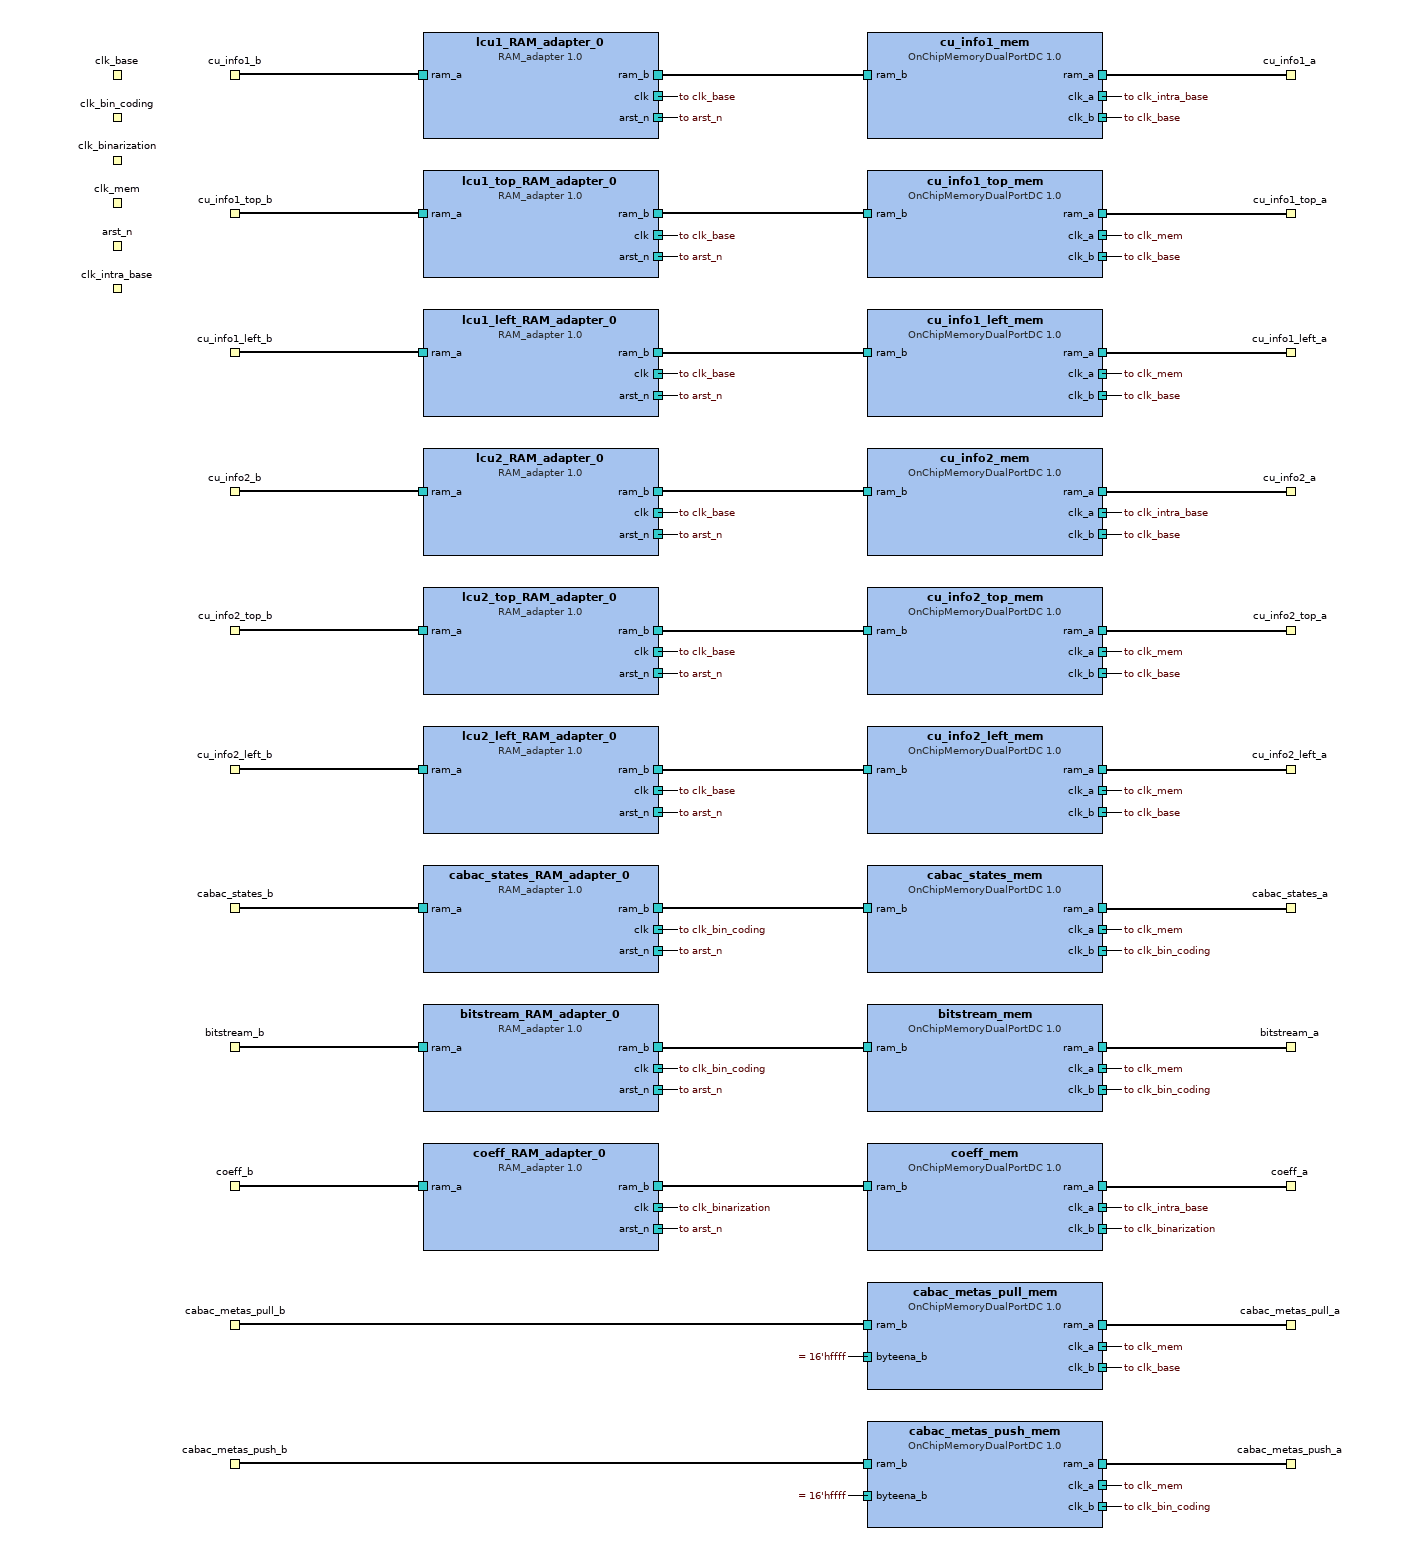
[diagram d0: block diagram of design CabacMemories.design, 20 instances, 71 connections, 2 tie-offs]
<?xml version="1.0" encoding="UTF-8"?>
<ipxact:design xmlns:xsi="http://www.w3.org/2001/XMLSchema-instance" xmlns:ipxact="http://www.accellera.org/XMLSchema/IPXACT/1685-2014" xmlns:kactus2="http://kactus2.cs.tut.fi" xsi:schemaLocation="http://www.accellera.org/XMLSchema/IPXACT/1685-2014 http://www.accellera.org/XMLSchema/IPXACT/1685-2014/index.xsd"><ipxact:vendor>tuni.fi</ipxact:vendor><ipxact:library>Kvazaar</ipxact:library><ipxact:name>CabacMemories.design</ipxact:name>
 <ipxact:version>1.0</ipxact:version><ipxact:componentInstances>
 <ipxact:componentInstance><ipxact:instanceName>lcu2_RAM_adapter_0</ipxact:instanceName>
  <ipxact:componentRef vendor="tuni.fi" library="Kvazaar" name="RAM_adapter" version="1.0">
   <ipxact:configurableElementValues><ipxact:configurableElementValue referenceId="uuid_fc91dd5a_09bc_43f0_9349_c5a8e2656498">32</ipxact:configurableElementValue><ipxact:configurableElementValue referenceId="uuid_c68389da_008c_4fe4_b7b1_1b5eb4a4834f">12</ipxact:configurableElementValue><ipxact:configurableElementValue referenceId="uuid_d2a68f01_072a_420c_9c9b_f1bb3ebae7ae">uuid_013fbaac_ae63_4cbf_921e_19a719f839a6+1</ipxact:configurableElementValue>
    <ipxact:configurableElementValue referenceId="uuid_44101cd7_21c5_4352_a5f0_04738ed12f13">uuid_f8b58c32_368b_44ed_a386_95b12cdad92f</ipxact:configurableElementValue>
   </ipxact:configurableElementValues>
  </ipxact:componentRef>
 </ipxact:componentInstance>
 <ipxact:componentInstance><ipxact:instanceName>coeff_RAM_adapter_0</ipxact:instanceName>
  <ipxact:componentRef vendor="tuni.fi" library="Kvazaar" name="RAM_adapter" version="1.0">
   <ipxact:configurableElementValues><ipxact:configurableElementValue referenceId="uuid_fc91dd5a_09bc_43f0_9349_c5a8e2656498">64</ipxact:configurableElementValue><ipxact:configurableElementValue referenceId="uuid_c68389da_008c_4fe4_b7b1_1b5eb4a4834f">15</ipxact:configurableElementValue><ipxact:configurableElementValue referenceId="uuid_d2a68f01_072a_420c_9c9b_f1bb3ebae7ae">uuid_410976aa_e59b_4fca_81d3_a67b3804eb19+1</ipxact:configurableElementValue>
    <ipxact:configurableElementValue referenceId="uuid_44101cd7_21c5_4352_a5f0_04738ed12f13">uuid_2597c0f4_ec4c_423b_808f_60bb7f0c5eb9</ipxact:configurableElementValue>
   </ipxact:configurableElementValues>
  </ipxact:componentRef>
 </ipxact:componentInstance>
 <ipxact:componentInstance><ipxact:instanceName>cabac_states_RAM_adapter_0</ipxact:instanceName>
  <ipxact:componentRef vendor="tuni.fi" library="Kvazaar" name="RAM_adapter" version="1.0">
   <ipxact:configurableElementValues><ipxact:configurableElementValue referenceId="uuid_c68389da_008c_4fe4_b7b1_1b5eb4a4834f">12</ipxact:configurableElementValue><ipxact:configurableElementValue referenceId="uuid_d2a68f01_072a_420c_9c9b_f1bb3ebae7ae">uuid_cb752995_e01e_4e02_810d_a593bbb0893d+1</ipxact:configurableElementValue><ipxact:configurableElementValue referenceId="uuid_44101cd7_21c5_4352_a5f0_04738ed12f13">uuid_f8b58c32_368b_44ed_a386_95b12cdad92f</ipxact:configurableElementValue>
   </ipxact:configurableElementValues>
  </ipxact:componentRef>
 </ipxact:componentInstance>
 <ipxact:componentInstance><ipxact:instanceName>lcu2_top_RAM_adapter_0</ipxact:instanceName>
  <ipxact:componentRef vendor="tuni.fi" library="Kvazaar" name="RAM_adapter" version="1.0">
   <ipxact:configurableElementValues><ipxact:configurableElementValue referenceId="uuid_d2a68f01_072a_420c_9c9b_f1bb3ebae7ae">uuid_603d90b0_655d_44f4_9a8b_74db451d16b1+1</ipxact:configurableElementValue><ipxact:configurableElementValue referenceId="uuid_c68389da_008c_4fe4_b7b1_1b5eb4a4834f">8</ipxact:configurableElementValue><ipxact:configurableElementValue referenceId="uuid_44101cd7_21c5_4352_a5f0_04738ed12f13">uuid_f8b58c32_368b_44ed_a386_95b12cdad92f</ipxact:configurableElementValue>
   </ipxact:configurableElementValues>
  </ipxact:componentRef>
 </ipxact:componentInstance>
 <ipxact:componentInstance><ipxact:instanceName>lcu1_top_RAM_adapter_0</ipxact:instanceName>
  <ipxact:componentRef vendor="tuni.fi" library="Kvazaar" name="RAM_adapter" version="1.0">
   <ipxact:configurableElementValues><ipxact:configurableElementValue referenceId="uuid_d2a68f01_072a_420c_9c9b_f1bb3ebae7ae">uuid_603d90b0_655d_44f4_9a8b_74db451d16b1+1</ipxact:configurableElementValue><ipxact:configurableElementValue referenceId="uuid_c68389da_008c_4fe4_b7b1_1b5eb4a4834f">8</ipxact:configurableElementValue><ipxact:configurableElementValue referenceId="uuid_44101cd7_21c5_4352_a5f0_04738ed12f13">uuid_f8b58c32_368b_44ed_a386_95b12cdad92f</ipxact:configurableElementValue>
   </ipxact:configurableElementValues>
  </ipxact:componentRef>
 </ipxact:componentInstance>
 <ipxact:componentInstance><ipxact:instanceName>lcu1_left_RAM_adapter_0</ipxact:instanceName>
  <ipxact:componentRef vendor="tuni.fi" library="Kvazaar" name="RAM_adapter" version="1.0">
   <ipxact:configurableElementValues><ipxact:configurableElementValue referenceId="uuid_d2a68f01_072a_420c_9c9b_f1bb3ebae7ae">uuid_603d90b0_655d_44f4_9a8b_74db451d16b1+1</ipxact:configurableElementValue><ipxact:configurableElementValue referenceId="uuid_c68389da_008c_4fe4_b7b1_1b5eb4a4834f">8</ipxact:configurableElementValue><ipxact:configurableElementValue referenceId="uuid_44101cd7_21c5_4352_a5f0_04738ed12f13">uuid_f8b58c32_368b_44ed_a386_95b12cdad92f</ipxact:configurableElementValue>
   </ipxact:configurableElementValues>
  </ipxact:componentRef>
 </ipxact:componentInstance>
 <ipxact:componentInstance><ipxact:instanceName>bitstream_RAM_adapter_0</ipxact:instanceName>
  <ipxact:componentRef vendor="tuni.fi" library="Kvazaar" name="RAM_adapter" version="1.0">
   <ipxact:configurableElementValues><ipxact:configurableElementValue referenceId="uuid_c68389da_008c_4fe4_b7b1_1b5eb4a4834f">15</ipxact:configurableElementValue><ipxact:configurableElementValue referenceId="uuid_d2a68f01_072a_420c_9c9b_f1bb3ebae7ae">uuid_67fbae7b_a1ef_4125_b115_25fa3ce580a6+1</ipxact:configurableElementValue><ipxact:configurableElementValue referenceId="uuid_44101cd7_21c5_4352_a5f0_04738ed12f13">uuid_f8b58c32_368b_44ed_a386_95b12cdad92f</ipxact:configurableElementValue>
   </ipxact:configurableElementValues>
  </ipxact:componentRef>
 </ipxact:componentInstance>
 <ipxact:componentInstance><ipxact:instanceName>lcu1_RAM_adapter_0</ipxact:instanceName>
  <ipxact:componentRef vendor="tuni.fi" library="Kvazaar" name="RAM_adapter" version="1.0">
   <ipxact:configurableElementValues><ipxact:configurableElementValue referenceId="uuid_fc91dd5a_09bc_43f0_9349_c5a8e2656498">32</ipxact:configurableElementValue><ipxact:configurableElementValue referenceId="uuid_c68389da_008c_4fe4_b7b1_1b5eb4a4834f">12</ipxact:configurableElementValue><ipxact:configurableElementValue referenceId="uuid_d2a68f01_072a_420c_9c9b_f1bb3ebae7ae">uuid_013fbaac_ae63_4cbf_921e_19a719f839a6+1</ipxact:configurableElementValue>
    <ipxact:configurableElementValue referenceId="uuid_44101cd7_21c5_4352_a5f0_04738ed12f13">uuid_f8b58c32_368b_44ed_a386_95b12cdad92f</ipxact:configurableElementValue>
   </ipxact:configurableElementValues>
  </ipxact:componentRef>
 </ipxact:componentInstance>
 <ipxact:componentInstance><ipxact:instanceName>lcu2_left_RAM_adapter_0</ipxact:instanceName>
  <ipxact:componentRef vendor="tuni.fi" library="Kvazaar" name="RAM_adapter" version="1.0">
   <ipxact:configurableElementValues><ipxact:configurableElementValue referenceId="uuid_d2a68f01_072a_420c_9c9b_f1bb3ebae7ae">uuid_603d90b0_655d_44f4_9a8b_74db451d16b1+1</ipxact:configurableElementValue><ipxact:configurableElementValue referenceId="uuid_c68389da_008c_4fe4_b7b1_1b5eb4a4834f">8</ipxact:configurableElementValue><ipxact:configurableElementValue referenceId="uuid_44101cd7_21c5_4352_a5f0_04738ed12f13">uuid_f8b58c32_368b_44ed_a386_95b12cdad92f</ipxact:configurableElementValue>
   </ipxact:configurableElementValues>
  </ipxact:componentRef>
 </ipxact:componentInstance>
 <ipxact:componentInstance><ipxact:instanceName>cu_info1_mem</ipxact:instanceName>
  <ipxact:componentRef vendor="tuni.fi" library="Kvazaar" name="OnChipMemoryDualPortDC" version="1.0">
   <ipxact:configurableElementValues><ipxact:configurableElementValue referenceId="uuid_f51bb75b_c308_4c8b_9bbf_5a7683439515">uuid_013fbaac_ae63_4cbf_921e_19a719f839a6</ipxact:configurableElementValue><ipxact:configurableElementValue referenceId="uuid_5f9ae38f_e460_4bab_9dc8_ced971dd2221">uuid_013fbaac_ae63_4cbf_921e_19a719f839a6</ipxact:configurableElementValue><ipxact:configurableElementValue referenceId="uuid_24864773_73dd_43cc_aa29_121c94111e73">uuid_f8b58c32_368b_44ed_a386_95b12cdad92f</ipxact:configurableElementValue>
    <ipxact:configurableElementValue referenceId="uuid_8d7b5202_0f0c_49d7_a425_bb64dfcf8a52">uuid_f8b58c32_368b_44ed_a386_95b12cdad92f</ipxact:configurableElementValue>
   </ipxact:configurableElementValues>
  </ipxact:componentRef>
 </ipxact:componentInstance>
 <ipxact:componentInstance><ipxact:instanceName>cu_info2_mem</ipxact:instanceName>
  <ipxact:componentRef vendor="tuni.fi" library="Kvazaar" name="OnChipMemoryDualPortDC" version="1.0">
   <ipxact:configurableElementValues><ipxact:configurableElementValue referenceId="uuid_f51bb75b_c308_4c8b_9bbf_5a7683439515">uuid_013fbaac_ae63_4cbf_921e_19a719f839a6</ipxact:configurableElementValue><ipxact:configurableElementValue referenceId="uuid_5f9ae38f_e460_4bab_9dc8_ced971dd2221">uuid_013fbaac_ae63_4cbf_921e_19a719f839a6</ipxact:configurableElementValue><ipxact:configurableElementValue referenceId="uuid_24864773_73dd_43cc_aa29_121c94111e73">uuid_f8b58c32_368b_44ed_a386_95b12cdad92f</ipxact:configurableElementValue>
    <ipxact:configurableElementValue referenceId="uuid_8d7b5202_0f0c_49d7_a425_bb64dfcf8a52">uuid_f8b58c32_368b_44ed_a386_95b12cdad92f</ipxact:configurableElementValue>
   </ipxact:configurableElementValues>
  </ipxact:componentRef>
 </ipxact:componentInstance>
 <ipxact:componentInstance><ipxact:instanceName>cu_info1_top_mem</ipxact:instanceName>
  <ipxact:componentRef vendor="tuni.fi" library="Kvazaar" name="OnChipMemoryDualPortDC" version="1.0">
   <ipxact:configurableElementValues><ipxact:configurableElementValue referenceId="uuid_f51bb75b_c308_4c8b_9bbf_5a7683439515">uuid_603d90b0_655d_44f4_9a8b_74db451d16b1</ipxact:configurableElementValue><ipxact:configurableElementValue referenceId="uuid_5f9ae38f_e460_4bab_9dc8_ced971dd2221">uuid_603d90b0_655d_44f4_9a8b_74db451d16b1</ipxact:configurableElementValue><ipxact:configurableElementValue referenceId="uuid_24864773_73dd_43cc_aa29_121c94111e73">uuid_f8b58c32_368b_44ed_a386_95b12cdad92f</ipxact:configurableElementValue>
    <ipxact:configurableElementValue referenceId="uuid_8d7b5202_0f0c_49d7_a425_bb64dfcf8a52">uuid_f8b58c32_368b_44ed_a386_95b12cdad92f</ipxact:configurableElementValue>
   </ipxact:configurableElementValues>
  </ipxact:componentRef>
 </ipxact:componentInstance>
 <ipxact:componentInstance><ipxact:instanceName>cu_info1_left_mem</ipxact:instanceName>
  <ipxact:componentRef vendor="tuni.fi" library="Kvazaar" name="OnChipMemoryDualPortDC" version="1.0">
   <ipxact:configurableElementValues><ipxact:configurableElementValue referenceId="uuid_f51bb75b_c308_4c8b_9bbf_5a7683439515">uuid_603d90b0_655d_44f4_9a8b_74db451d16b1</ipxact:configurableElementValue><ipxact:configurableElementValue referenceId="uuid_5f9ae38f_e460_4bab_9dc8_ced971dd2221">uuid_603d90b0_655d_44f4_9a8b_74db451d16b1</ipxact:configurableElementValue><ipxact:configurableElementValue referenceId="uuid_24864773_73dd_43cc_aa29_121c94111e73">uuid_f8b58c32_368b_44ed_a386_95b12cdad92f</ipxact:configurableElementValue>
    <ipxact:configurableElementValue referenceId="uuid_8d7b5202_0f0c_49d7_a425_bb64dfcf8a52">uuid_f8b58c32_368b_44ed_a386_95b12cdad92f</ipxact:configurableElementValue>
   </ipxact:configurableElementValues>
  </ipxact:componentRef>
 </ipxact:componentInstance>
 <ipxact:componentInstance><ipxact:instanceName>cu_info2_top_mem</ipxact:instanceName>
  <ipxact:componentRef vendor="tuni.fi" library="Kvazaar" name="OnChipMemoryDualPortDC" version="1.0">
   <ipxact:configurableElementValues><ipxact:configurableElementValue referenceId="uuid_f51bb75b_c308_4c8b_9bbf_5a7683439515">uuid_603d90b0_655d_44f4_9a8b_74db451d16b1</ipxact:configurableElementValue><ipxact:configurableElementValue referenceId="uuid_5f9ae38f_e460_4bab_9dc8_ced971dd2221">uuid_603d90b0_655d_44f4_9a8b_74db451d16b1</ipxact:configurableElementValue><ipxact:configurableElementValue referenceId="uuid_24864773_73dd_43cc_aa29_121c94111e73">uuid_f8b58c32_368b_44ed_a386_95b12cdad92f</ipxact:configurableElementValue>
    <ipxact:configurableElementValue referenceId="uuid_8d7b5202_0f0c_49d7_a425_bb64dfcf8a52">uuid_f8b58c32_368b_44ed_a386_95b12cdad92f</ipxact:configurableElementValue>
   </ipxact:configurableElementValues>
  </ipxact:componentRef>
 </ipxact:componentInstance>
 <ipxact:componentInstance><ipxact:instanceName>cu_info2_left_mem</ipxact:instanceName>
  <ipxact:componentRef vendor="tuni.fi" library="Kvazaar" name="OnChipMemoryDualPortDC" version="1.0">
   <ipxact:configurableElementValues><ipxact:configurableElementValue referenceId="uuid_f51bb75b_c308_4c8b_9bbf_5a7683439515">uuid_603d90b0_655d_44f4_9a8b_74db451d16b1</ipxact:configurableElementValue><ipxact:configurableElementValue referenceId="uuid_5f9ae38f_e460_4bab_9dc8_ced971dd2221">uuid_603d90b0_655d_44f4_9a8b_74db451d16b1</ipxact:configurableElementValue><ipxact:configurableElementValue referenceId="uuid_8d7b5202_0f0c_49d7_a425_bb64dfcf8a52">uuid_f8b58c32_368b_44ed_a386_95b12cdad92f</ipxact:configurableElementValue>
    <ipxact:configurableElementValue referenceId="uuid_24864773_73dd_43cc_aa29_121c94111e73">uuid_f8b58c32_368b_44ed_a386_95b12cdad92f</ipxact:configurableElementValue>
   </ipxact:configurableElementValues>
  </ipxact:componentRef>
 </ipxact:componentInstance>
 <ipxact:componentInstance><ipxact:instanceName>cabac_states_mem</ipxact:instanceName>
  <ipxact:componentRef vendor="tuni.fi" library="Kvazaar" name="OnChipMemoryDualPortDC" version="1.0">
   <ipxact:configurableElementValues><ipxact:configurableElementValue referenceId="uuid_f51bb75b_c308_4c8b_9bbf_5a7683439515">uuid_cb752995_e01e_4e02_810d_a593bbb0893d</ipxact:configurableElementValue><ipxact:configurableElementValue referenceId="uuid_5f9ae38f_e460_4bab_9dc8_ced971dd2221">uuid_cb752995_e01e_4e02_810d_a593bbb0893d</ipxact:configurableElementValue><ipxact:configurableElementValue referenceId="uuid_24864773_73dd_43cc_aa29_121c94111e73">uuid_f8b58c32_368b_44ed_a386_95b12cdad92f</ipxact:configurableElementValue>
    <ipxact:configurableElementValue referenceId="uuid_8d7b5202_0f0c_49d7_a425_bb64dfcf8a52">uuid_f8b58c32_368b_44ed_a386_95b12cdad92f</ipxact:configurableElementValue>
   </ipxact:configurableElementValues>
  </ipxact:componentRef>
 </ipxact:componentInstance>
 <ipxact:componentInstance><ipxact:instanceName>bitstream_mem</ipxact:instanceName>
  <ipxact:componentRef vendor="tuni.fi" library="Kvazaar" name="OnChipMemoryDualPortDC" version="1.0">
   <ipxact:configurableElementValues><ipxact:configurableElementValue referenceId="uuid_f51bb75b_c308_4c8b_9bbf_5a7683439515">uuid_67fbae7b_a1ef_4125_b115_25fa3ce580a6</ipxact:configurableElementValue><ipxact:configurableElementValue referenceId="uuid_5f9ae38f_e460_4bab_9dc8_ced971dd2221">uuid_67fbae7b_a1ef_4125_b115_25fa3ce580a6</ipxact:configurableElementValue><ipxact:configurableElementValue referenceId="uuid_24864773_73dd_43cc_aa29_121c94111e73">uuid_f8b58c32_368b_44ed_a386_95b12cdad92f</ipxact:configurableElementValue>
    <ipxact:configurableElementValue referenceId="uuid_8d7b5202_0f0c_49d7_a425_bb64dfcf8a52">uuid_f8b58c32_368b_44ed_a386_95b12cdad92f</ipxact:configurableElementValue>
   </ipxact:configurableElementValues>
  </ipxact:componentRef>
 </ipxact:componentInstance>
 <ipxact:componentInstance><ipxact:instanceName>coeff_mem</ipxact:instanceName>
  <ipxact:componentRef vendor="tuni.fi" library="Kvazaar" name="OnChipMemoryDualPortDC" version="1.0">
   <ipxact:configurableElementValues><ipxact:configurableElementValue referenceId="uuid_f51bb75b_c308_4c8b_9bbf_5a7683439515">uuid_410976aa_e59b_4fca_81d3_a67b3804eb19</ipxact:configurableElementValue><ipxact:configurableElementValue referenceId="uuid_5f9ae38f_e460_4bab_9dc8_ced971dd2221">uuid_410976aa_e59b_4fca_81d3_a67b3804eb19</ipxact:configurableElementValue><ipxact:configurableElementValue referenceId="uuid_24864773_73dd_43cc_aa29_121c94111e73">uuid_2597c0f4_ec4c_423b_808f_60bb7f0c5eb9</ipxact:configurableElementValue>
    <ipxact:configurableElementValue referenceId="uuid_8d7b5202_0f0c_49d7_a425_bb64dfcf8a52">uuid_2597c0f4_ec4c_423b_808f_60bb7f0c5eb9</ipxact:configurableElementValue>
   </ipxact:configurableElementValues>
  </ipxact:componentRef>
 </ipxact:componentInstance>
 <ipxact:componentInstance><ipxact:instanceName>cabac_metas_push_mem</ipxact:instanceName>
  <ipxact:componentRef vendor="tuni.fi" library="Kvazaar" name="OnChipMemoryDualPortDC" version="1.0">
   <ipxact:configurableElementValues><ipxact:configurableElementValue referenceId="uuid_f51bb75b_c308_4c8b_9bbf_5a7683439515">uuid_53a6434d_dc04_4f3c_8a86_a09f25e31ade</ipxact:configurableElementValue><ipxact:configurableElementValue referenceId="uuid_5f9ae38f_e460_4bab_9dc8_ced971dd2221">4</ipxact:configurableElementValue><ipxact:configurableElementValue referenceId="uuid_24864773_73dd_43cc_aa29_121c94111e73">uuid_f8b58c32_368b_44ed_a386_95b12cdad92f</ipxact:configurableElementValue>
   </ipxact:configurableElementValues>
  </ipxact:componentRef>
 </ipxact:componentInstance>
 <ipxact:componentInstance><ipxact:instanceName>cabac_metas_pull_mem</ipxact:instanceName>
  <ipxact:componentRef vendor="tuni.fi" library="Kvazaar" name="OnChipMemoryDualPortDC" version="1.0">
   <ipxact:configurableElementValues><ipxact:configurableElementValue referenceId="uuid_f51bb75b_c308_4c8b_9bbf_5a7683439515">uuid_cd69f4fb_1fe6_4cec_ac9f_6b752599bd35</ipxact:configurableElementValue><ipxact:configurableElementValue referenceId="uuid_5f9ae38f_e460_4bab_9dc8_ced971dd2221">3</ipxact:configurableElementValue><ipxact:configurableElementValue referenceId="uuid_24864773_73dd_43cc_aa29_121c94111e73">uuid_f8b58c32_368b_44ed_a386_95b12cdad92f</ipxact:configurableElementValue>
   </ipxact:configurableElementValues>
  </ipxact:componentRef>
 </ipxact:componentInstance>
</ipxact:componentInstances><ipxact:interconnections>
 <ipxact:interconnection><ipxact:name>lcu1_RAM_adapter_0_ram_b_to_cu_info1_mem_ram_b</ipxact:name><ipxact:activeInterface componentRef="lcu1_RAM_adapter_0" busRef="ram_b"/><ipxact:activeInterface componentRef="cu_info1_mem" busRef="ram_b"/></ipxact:interconnection>
 <ipxact:interconnection><ipxact:name>cu_info1_top_mem_ram_b_to_lcu1_top_RAM_adapter_0_ram_b</ipxact:name><ipxact:activeInterface componentRef="cu_info1_top_mem" busRef="ram_b"/><ipxact:activeInterface componentRef="lcu1_top_RAM_adapter_0" busRef="ram_b"/></ipxact:interconnection>
 <ipxact:interconnection><ipxact:name>lcu1_left_RAM_adapter_0_ram_b_to_cu_info1_left_mem_ram_b</ipxact:name><ipxact:activeInterface componentRef="lcu1_left_RAM_adapter_0" busRef="ram_b"/><ipxact:activeInterface componentRef="cu_info1_left_mem" busRef="ram_b"/></ipxact:interconnection>
 <ipxact:interconnection><ipxact:name>cu_info2_mem_ram_b_to_lcu2_RAM_adapter_0_ram_b</ipxact:name><ipxact:activeInterface componentRef="cu_info2_mem" busRef="ram_b"/><ipxact:activeInterface componentRef="lcu2_RAM_adapter_0" busRef="ram_b"/></ipxact:interconnection>
 <ipxact:interconnection><ipxact:name>lcu2_top_RAM_adapter_0_ram_b_to_cu_info2_top_mem_ram_b</ipxact:name><ipxact:activeInterface componentRef="lcu2_top_RAM_adapter_0" busRef="ram_b"/><ipxact:activeInterface componentRef="cu_info2_top_mem" busRef="ram_b"/></ipxact:interconnection>
 <ipxact:interconnection><ipxact:name>lcu2_left_RAM_adapter_0_ram_b_to_cu_info2_left_mem_ram_b</ipxact:name><ipxact:activeInterface componentRef="lcu2_left_RAM_adapter_0" busRef="ram_b"/><ipxact:activeInterface componentRef="cu_info2_left_mem" busRef="ram_b"/></ipxact:interconnection>
 <ipxact:interconnection><ipxact:name>cabac_states_mem_ram_b_to_cabac_states_RAM_adapter_0_ram_b</ipxact:name><ipxact:activeInterface componentRef="cabac_states_mem" busRef="ram_b"/><ipxact:activeInterface componentRef="cabac_states_RAM_adapter_0" busRef="ram_b"/></ipxact:interconnection>
 <ipxact:interconnection><ipxact:name>bitstream_RAM_adapter_0_ram_b_to_bitstream_mem_ram_b</ipxact:name><ipxact:activeInterface componentRef="bitstream_RAM_adapter_0" busRef="ram_b"/><ipxact:activeInterface componentRef="bitstream_mem" busRef="ram_b"/></ipxact:interconnection>
 <ipxact:interconnection><ipxact:name>coeff_mem_ram_b_to_coeff_RAM_adapter_0_ram_b</ipxact:name><ipxact:activeInterface componentRef="coeff_mem" busRef="ram_b"/><ipxact:activeInterface componentRef="coeff_RAM_adapter_0" busRef="ram_b"/></ipxact:interconnection>
 <ipxact:interconnection><ipxact:name>lcu1_RAM_adapter_0_clk_to_clk_base</ipxact:name><ipxact:activeInterface componentRef="lcu1_RAM_adapter_0" busRef="clk"/><ipxact:hierInterface busRef="clk_base"/></ipxact:interconnection>
 <ipxact:interconnection><ipxact:name>lcu1_top_RAM_adapter_0_clk_to_clk_base</ipxact:name><ipxact:activeInterface componentRef="lcu1_top_RAM_adapter_0" busRef="clk"/><ipxact:hierInterface busRef="clk_base"/></ipxact:interconnection>
 <ipxact:interconnection><ipxact:name>lcu1_left_RAM_adapter_0_clk_to_clk_base</ipxact:name><ipxact:activeInterface componentRef="lcu1_left_RAM_adapter_0" busRef="clk"/><ipxact:hierInterface busRef="clk_base"/></ipxact:interconnection>
 <ipxact:interconnection><ipxact:name>lcu2_RAM_adapter_0_clk_to_clk_base</ipxact:name><ipxact:activeInterface componentRef="lcu2_RAM_adapter_0" busRef="clk"/><ipxact:hierInterface busRef="clk_base"/></ipxact:interconnection>
 <ipxact:interconnection><ipxact:name>lcu2_top_RAM_adapter_0_clk_to_clk_base</ipxact:name><ipxact:activeInterface componentRef="lcu2_top_RAM_adapter_0" busRef="clk"/><ipxact:hierInterface busRef="clk_base"/></ipxact:interconnection>
 <ipxact:interconnection><ipxact:name>lcu2_left_RAM_adapter_0_clk_to_clk_base</ipxact:name><ipxact:activeInterface componentRef="lcu2_left_RAM_adapter_0" busRef="clk"/><ipxact:hierInterface busRef="clk_base"/></ipxact:interconnection>
 <ipxact:interconnection><ipxact:name>cabac_states_RAM_adapter_0_clk_to_clk_bin_coding</ipxact:name><ipxact:activeInterface componentRef="cabac_states_RAM_adapter_0" busRef="clk"/><ipxact:hierInterface busRef="clk_bin_coding"/></ipxact:interconnection>
 <ipxact:interconnection><ipxact:name>cabac_states_mem_clk_b_to_clk_bin_coding</ipxact:name><ipxact:activeInterface componentRef="cabac_states_mem" busRef="clk_b"/><ipxact:hierInterface busRef="clk_bin_coding"/></ipxact:interconnection>
 <ipxact:interconnection><ipxact:name>cu_info2_left_mem_clk_b_to_clk_base</ipxact:name><ipxact:activeInterface componentRef="cu_info2_left_mem" busRef="clk_b"/><ipxact:hierInterface busRef="clk_base"/></ipxact:interconnection>
 <ipxact:interconnection><ipxact:name>cu_info2_top_mem_clk_b_to_clk_base</ipxact:name><ipxact:activeInterface componentRef="cu_info2_top_mem" busRef="clk_b"/><ipxact:hierInterface busRef="clk_base"/></ipxact:interconnection>
 <ipxact:interconnection><ipxact:name>cu_info2_mem_clk_b_to_clk_base</ipxact:name><ipxact:activeInterface componentRef="cu_info2_mem" busRef="clk_b"/><ipxact:hierInterface busRef="clk_base"/></ipxact:interconnection>
 <ipxact:interconnection><ipxact:name>cu_info1_left_mem_clk_b_to_clk_base</ipxact:name><ipxact:activeInterface componentRef="cu_info1_left_mem" busRef="clk_b"/><ipxact:hierInterface busRef="clk_base"/></ipxact:interconnection>
 <ipxact:interconnection><ipxact:name>cu_info1_top_mem_clk_b_to_clk_base</ipxact:name><ipxact:activeInterface componentRef="cu_info1_top_mem" busRef="clk_b"/><ipxact:hierInterface busRef="clk_base"/></ipxact:interconnection>
 <ipxact:interconnection><ipxact:name>cu_info1_mem_clk_b_to_clk_base</ipxact:name><ipxact:activeInterface componentRef="cu_info1_mem" busRef="clk_b"/><ipxact:hierInterface busRef="clk_base"/></ipxact:interconnection>
 <ipxact:interconnection><ipxact:name>bitstream_RAM_adapter_0_clk_to_clk_bin_coding</ipxact:name><ipxact:activeInterface componentRef="bitstream_RAM_adapter_0" busRef="clk"/><ipxact:hierInterface busRef="clk_bin_coding"/></ipxact:interconnection>
 <ipxact:interconnection><ipxact:name>bitstream_mem_clk_b_to_clk_bin_coding</ipxact:name><ipxact:activeInterface componentRef="bitstream_mem" busRef="clk_b"/><ipxact:hierInterface busRef="clk_bin_coding"/></ipxact:interconnection>
 <ipxact:interconnection><ipxact:name>coeff_RAM_adapter_0_clk_to_clk_binarization</ipxact:name><ipxact:activeInterface componentRef="coeff_RAM_adapter_0" busRef="clk"/><ipxact:hierInterface busRef="clk_binarization"/></ipxact:interconnection>
 <ipxact:interconnection><ipxact:name>coeff_mem_clk_b_to_clk_binarization</ipxact:name><ipxact:activeInterface componentRef="coeff_mem" busRef="clk_b"/><ipxact:hierInterface busRef="clk_binarization"/></ipxact:interconnection>
 <ipxact:interconnection><ipxact:name>cabac_metas_push_mem_clk_b_to_clk_bin_coding</ipxact:name><ipxact:activeInterface componentRef="cabac_metas_push_mem" busRef="clk_b"/><ipxact:hierInterface busRef="clk_bin_coding"/></ipxact:interconnection>
 <ipxact:interconnection><ipxact:name>cabac_metas_pull_mem_clk_b_to_clk_base</ipxact:name><ipxact:activeInterface componentRef="cabac_metas_pull_mem" busRef="clk_b"/><ipxact:hierInterface busRef="clk_base"/></ipxact:interconnection>
 <ipxact:interconnection><ipxact:name>cu_info1_top_mem_clk_a_to_clk_mem</ipxact:name><ipxact:activeInterface componentRef="cu_info1_top_mem" busRef="clk_a"/><ipxact:hierInterface busRef="clk_mem"/></ipxact:interconnection>
 <ipxact:interconnection><ipxact:name>cu_info1_left_mem_clk_a_to_clk_mem</ipxact:name><ipxact:activeInterface componentRef="cu_info1_left_mem" busRef="clk_a"/><ipxact:hierInterface busRef="clk_mem"/></ipxact:interconnection>
 <ipxact:interconnection><ipxact:name>cu_info2_top_mem_clk_a_to_clk_mem</ipxact:name><ipxact:activeInterface componentRef="cu_info2_top_mem" busRef="clk_a"/><ipxact:hierInterface busRef="clk_mem"/></ipxact:interconnection>
 <ipxact:interconnection><ipxact:name>cu_info2_left_mem_clk_a_to_clk_mem</ipxact:name><ipxact:activeInterface componentRef="cu_info2_left_mem" busRef="clk_a"/><ipxact:hierInterface busRef="clk_mem"/></ipxact:interconnection>
 <ipxact:interconnection><ipxact:name>cabac_states_mem_clk_a_to_clk_mem</ipxact:name><ipxact:activeInterface componentRef="cabac_states_mem" busRef="clk_a"/><ipxact:hierInterface busRef="clk_mem"/></ipxact:interconnection>
 <ipxact:interconnection><ipxact:name>bitstream_mem_clk_a_to_clk_mem</ipxact:name><ipxact:activeInterface componentRef="bitstream_mem" busRef="clk_a"/><ipxact:hierInterface busRef="clk_mem"/></ipxact:interconnection>
 <ipxact:interconnection><ipxact:name>cabac_metas_pull_mem_clk_a_to_clk_mem</ipxact:name><ipxact:activeInterface componentRef="cabac_metas_pull_mem" busRef="clk_a"/><ipxact:hierInterface busRef="clk_mem"/></ipxact:interconnection>
 <ipxact:interconnection><ipxact:name>cabac_metas_push_mem_clk_a_to_clk_mem</ipxact:name><ipxact:activeInterface componentRef="cabac_metas_push_mem" busRef="clk_a"/><ipxact:hierInterface busRef="clk_mem"/></ipxact:interconnection>
 <ipxact:interconnection><ipxact:name>lcu1_RAM_adapter_0_ram_a_to_cu_info1_b</ipxact:name><ipxact:activeInterface componentRef="lcu1_RAM_adapter_0" busRef="ram_a"/><ipxact:hierInterface busRef="cu_info1_b"/></ipxact:interconnection>
 <ipxact:interconnection><ipxact:name>coeff_RAM_adapter_0_ram_a_to_coeff_b</ipxact:name><ipxact:activeInterface componentRef="coeff_RAM_adapter_0" busRef="ram_a"/><ipxact:hierInterface busRef="coeff_b"/></ipxact:interconnection>
 <ipxact:interconnection><ipxact:name>bitstream_RAM_adapter_0_ram_a_to_bitstream_b</ipxact:name><ipxact:activeInterface componentRef="bitstream_RAM_adapter_0" busRef="ram_a"/><ipxact:hierInterface busRef="bitstream_b"/></ipxact:interconnection>
 <ipxact:interconnection><ipxact:name>cabac_states_RAM_adapter_0_ram_a_to_cabac_states_b</ipxact:name><ipxact:activeInterface componentRef="cabac_states_RAM_adapter_0" busRef="ram_a"/><ipxact:hierInterface busRef="cabac_states_b"/></ipxact:interconnection>
 <ipxact:interconnection><ipxact:name>lcu2_left_RAM_adapter_0_ram_a_to_cu_info2_left_b</ipxact:name><ipxact:activeInterface componentRef="lcu2_left_RAM_adapter_0" busRef="ram_a"/><ipxact:hierInterface busRef="cu_info2_left_b"/></ipxact:interconnection>
 <ipxact:interconnection><ipxact:name>lcu2_top_RAM_adapter_0_ram_a_to_cu_info2_top_b</ipxact:name><ipxact:activeInterface componentRef="lcu2_top_RAM_adapter_0" busRef="ram_a"/><ipxact:hierInterface busRef="cu_info2_top_b"/></ipxact:interconnection>
 <ipxact:interconnection><ipxact:name>lcu2_RAM_adapter_0_ram_a_to_cu_info2_b</ipxact:name><ipxact:activeInterface componentRef="lcu2_RAM_adapter_0" busRef="ram_a"/><ipxact:hierInterface busRef="cu_info2_b"/></ipxact:interconnection>
 <ipxact:interconnection><ipxact:name>lcu1_left_RAM_adapter_0_ram_a_to_cu_info1_left_b</ipxact:name><ipxact:activeInterface componentRef="lcu1_left_RAM_adapter_0" busRef="ram_a"/><ipxact:hierInterface busRef="cu_info1_left_b"/></ipxact:interconnection>
 <ipxact:interconnection><ipxact:name>lcu1_top_RAM_adapter_0_ram_a_to_cu_info1_top_b</ipxact:name><ipxact:activeInterface componentRef="lcu1_top_RAM_adapter_0" busRef="ram_a"/><ipxact:hierInterface busRef="cu_info1_top_b"/></ipxact:interconnection>
 <ipxact:interconnection><ipxact:name>lcu1_top_RAM_adapter_0_arst_n_to_bus</ipxact:name><ipxact:activeInterface componentRef="lcu1_top_RAM_adapter_0" busRef="arst_n"/><ipxact:hierInterface busRef="arst_n"/></ipxact:interconnection>
 <ipxact:interconnection><ipxact:name>lcu1_RAM_adapter_0_arst_n_to_arst_n</ipxact:name><ipxact:activeInterface componentRef="lcu1_RAM_adapter_0" busRef="arst_n"/><ipxact:hierInterface busRef="arst_n"/></ipxact:interconnection>
 <ipxact:interconnection><ipxact:name>lcu1_left_RAM_adapter_0_arst_n_to_arst_n</ipxact:name><ipxact:activeInterface componentRef="lcu1_left_RAM_adapter_0" busRef="arst_n"/><ipxact:hierInterface busRef="arst_n"/></ipxact:interconnection>
 <ipxact:interconnection><ipxact:name>lcu2_RAM_adapter_0_arst_n_to_arst_n</ipxact:name><ipxact:activeInterface componentRef="lcu2_RAM_adapter_0" busRef="arst_n"/><ipxact:hierInterface busRef="arst_n"/></ipxact:interconnection>
 <ipxact:interconnection><ipxact:name>lcu2_top_RAM_adapter_0_arst_n_to_arst_n</ipxact:name><ipxact:activeInterface componentRef="lcu2_top_RAM_adapter_0" busRef="arst_n"/><ipxact:hierInterface busRef="arst_n"/></ipxact:interconnection>
 <ipxact:interconnection><ipxact:name>lcu2_left_RAM_adapter_0_arst_n_to_arst_n</ipxact:name><ipxact:activeInterface componentRef="lcu2_left_RAM_adapter_0" busRef="arst_n"/><ipxact:hierInterface busRef="arst_n"/></ipxact:interconnection>
 <ipxact:interconnection><ipxact:name>cabac_states_RAM_adapter_0_arst_n_to_arst_n</ipxact:name><ipxact:activeInterface componentRef="cabac_states_RAM_adapter_0" busRef="arst_n"/><ipxact:hierInterface busRef="arst_n"/></ipxact:interconnection>
 <ipxact:interconnection><ipxact:name>bitstream_RAM_adapter_0_arst_n_to_arst_n</ipxact:name><ipxact:activeInterface componentRef="bitstream_RAM_adapter_0" busRef="arst_n"/><ipxact:hierInterface busRef="arst_n"/></ipxact:interconnection>
 <ipxact:interconnection><ipxact:name>coeff_RAM_adapter_0_arst_n_to_arst_n</ipxact:name><ipxact:activeInterface componentRef="coeff_RAM_adapter_0" busRef="arst_n"/><ipxact:hierInterface busRef="arst_n"/></ipxact:interconnection>
 <ipxact:interconnection><ipxact:name>cabac_metas_pull_mem_ram_b_to_cabac_metas_pull_b</ipxact:name><ipxact:activeInterface componentRef="cabac_metas_pull_mem" busRef="ram_b"/><ipxact:hierInterface busRef="cabac_metas_pull_b"/></ipxact:interconnection>
 <ipxact:interconnection><ipxact:name>cabac_metas_push_mem_ram_b_to_cabac_metas_push_b</ipxact:name><ipxact:activeInterface componentRef="cabac_metas_push_mem" busRef="ram_b"/><ipxact:hierInterface busRef="cabac_metas_push_b"/></ipxact:interconnection>
 <ipxact:interconnection><ipxact:name>cu_info1_mem_ram_a_to_cu_info1_a</ipxact:name><ipxact:activeInterface componentRef="cu_info1_mem" busRef="ram_a"/><ipxact:hierInterface busRef="cu_info1_a"/></ipxact:interconnection>
 <ipxact:interconnection><ipxact:name>cu_info1_top_mem_ram_a_to_cu_info1_top_a</ipxact:name><ipxact:activeInterface componentRef="cu_info1_top_mem" busRef="ram_a"/><ipxact:hierInterface busRef="cu_info1_top_a"/></ipxact:interconnection>
 <ipxact:interconnection><ipxact:name>cu_info1_left_mem_ram_a_to_cu_info1_left_a</ipxact:name><ipxact:activeInterface componentRef="cu_info1_left_mem" busRef="ram_a"/><ipxact:hierInterface busRef="cu_info1_left_a"/></ipxact:interconnection>
 <ipxact:interconnection><ipxact:name>cu_info2_mem_ram_a_to_cu_info2_a</ipxact:name><ipxact:activeInterface componentRef="cu_info2_mem" busRef="ram_a"/><ipxact:hierInterface busRef="cu_info2_a"/></ipxact:interconnection>
 <ipxact:interconnection><ipxact:name>cu_info2_top_mem_ram_a_to_cu_info2_top_a</ipxact:name><ipxact:activeInterface componentRef="cu_info2_top_mem" busRef="ram_a"/><ipxact:hierInterface busRef="cu_info2_top_a"/></ipxact:interconnection>
 <ipxact:interconnection><ipxact:name>cu_info2_left_mem_ram_a_to_cu_info2_left_a</ipxact:name><ipxact:activeInterface componentRef="cu_info2_left_mem" busRef="ram_a"/><ipxact:hierInterface busRef="cu_info2_left_a"/></ipxact:interconnection>
 <ipxact:interconnection><ipxact:name>cabac_states_mem_ram_a_to_cabac_states_a</ipxact:name><ipxact:activeInterface componentRef="cabac_states_mem" busRef="ram_a"/><ipxact:hierInterface busRef="cabac_states_a"/></ipxact:interconnection>
 <ipxact:interconnection><ipxact:name>bitstream_mem_ram_a_to_bitstream_a</ipxact:name><ipxact:activeInterface componentRef="bitstream_mem" busRef="ram_a"/><ipxact:hierInterface busRef="bitstream_a"/></ipxact:interconnection>
 <ipxact:interconnection><ipxact:name>coeff_mem_ram_a_to_coeff_a</ipxact:name><ipxact:activeInterface componentRef="coeff_mem" busRef="ram_a"/><ipxact:hierInterface busRef="coeff_a"/></ipxact:interconnection>
 <ipxact:interconnection><ipxact:name>cabac_metas_pull_mem_ram_a_to_cabac_metas_pull_a</ipxact:name><ipxact:activeInterface componentRef="cabac_metas_pull_mem" busRef="ram_a"/><ipxact:hierInterface busRef="cabac_metas_pull_a"/></ipxact:interconnection>
 <ipxact:interconnection><ipxact:name>cabac_metas_push_mem_ram_a_to_cabac_metas_push_a</ipxact:name><ipxact:activeInterface componentRef="cabac_metas_push_mem" busRef="ram_a"/><ipxact:hierInterface busRef="cabac_metas_push_a"/></ipxact:interconnection>
 <ipxact:interconnection><ipxact:name>cu_info1_mem_clk_a_to_clk_intra_base</ipxact:name><ipxact:activeInterface componentRef="cu_info1_mem" busRef="clk_a"/><ipxact:hierInterface busRef="clk_intra_base"/></ipxact:interconnection>
 <ipxact:interconnection><ipxact:name>cu_info2_mem_clk_a_to_clk_intra_base</ipxact:name><ipxact:activeInterface componentRef="cu_info2_mem" busRef="clk_a"/><ipxact:hierInterface busRef="clk_intra_base"/></ipxact:interconnection>
 <ipxact:interconnection><ipxact:name>coeff_mem_clk_a_to_clk_intra_base</ipxact:name><ipxact:activeInterface componentRef="coeff_mem" busRef="clk_a"/><ipxact:hierInterface busRef="clk_intra_base"/></ipxact:interconnection>
</ipxact:interconnections><ipxact:adHocConnections>
 <ipxact:adHocConnection><ipxact:name>cabac_metas_pull_mem_byteena_b_to_tiedValue</ipxact:name><ipxact:tiedValue>16'hffff</ipxact:tiedValue><ipxact:portReferences><ipxact:internalPortReference componentRef="cabac_metas_pull_mem" portRef="byteena_b"/></ipxact:portReferences></ipxact:adHocConnection>
 <ipxact:adHocConnection><ipxact:name>cabac_metas_push_mem_byteena_b_to_tiedValue</ipxact:name><ipxact:tiedValue>16'hffff</ipxact:tiedValue><ipxact:portReferences><ipxact:internalPortReference componentRef="cabac_metas_push_mem" portRef="byteena_b"/></ipxact:portReferences></ipxact:adHocConnection>
</ipxact:adHocConnections><ipxact:parameters>
 <ipxact:parameter kactus2:usageCount="26" parameterId="uuid_f8b58c32_368b_44ed_a386_95b12cdad92f" resolve="user" type="int"><ipxact:name>mem_width</ipxact:name><ipxact:value>128</ipxact:value></ipxact:parameter>
 <ipxact:parameter kactus2:usageCount="6" parameterId="uuid_013fbaac_ae63_4cbf_921e_19a719f839a6" resolve="user" type="int"><ipxact:name>cu_info_addr</ipxact:name><ipxact:value>9</ipxact:value></ipxact:parameter>
 <ipxact:parameter kactus2:usageCount="12" parameterId="uuid_603d90b0_655d_44f4_9a8b_74db451d16b1" resolve="user" type="int"><ipxact:name>cu_info_border_addr</ipxact:name><ipxact:value>3</ipxact:value></ipxact:parameter>
 <ipxact:parameter kactus2:usageCount="3" parameterId="uuid_cb752995_e01e_4e02_810d_a593bbb0893d" resolve="user" type="int"><ipxact:name>cabac_addr</ipxact:name><ipxact:value>7</ipxact:value></ipxact:parameter>
 <ipxact:parameter kactus2:usageCount="3" parameterId="uuid_67fbae7b_a1ef_4125_b115_25fa3ce580a6" resolve="user" type="int"><ipxact:name>bitstream_addr</ipxact:name><ipxact:value>10</ipxact:value></ipxact:parameter>
 <ipxact:parameter kactus2:usageCount="3" parameterId="uuid_410976aa_e59b_4fca_81d3_a67b3804eb19" resolve="user" type="int"><ipxact:name>coeff_addr</ipxact:name><ipxact:value>11</ipxact:value></ipxact:parameter>
 <ipxact:parameter kactus2:usageCount="3" parameterId="uuid_2597c0f4_ec4c_423b_808f_60bb7f0c5eb9" resolve="user" type="int"><ipxact:name>coeff_width</ipxact:name><ipxact:value>512</ipxact:value></ipxact:parameter>
 <ipxact:parameter kactus2:usageCount="2" parameterId="uuid_53a6434d_dc04_4f3c_8a86_a09f25e31ade" resolve="user" type="int"><ipxact:name>cabac_metas_push_addr</ipxact:name><ipxact:value>4</ipxact:value></ipxact:parameter>
 <ipxact:parameter kactus2:usageCount="1" parameterId="uuid_cd69f4fb_1fe6_4cec_ac9f_6b752599bd35" resolve="user" type="int"><ipxact:name>cabac_metas_pull_addr</ipxact:name><ipxact:value>3</ipxact:value></ipxact:parameter>
</ipxact:parameters></ipxact:design>

